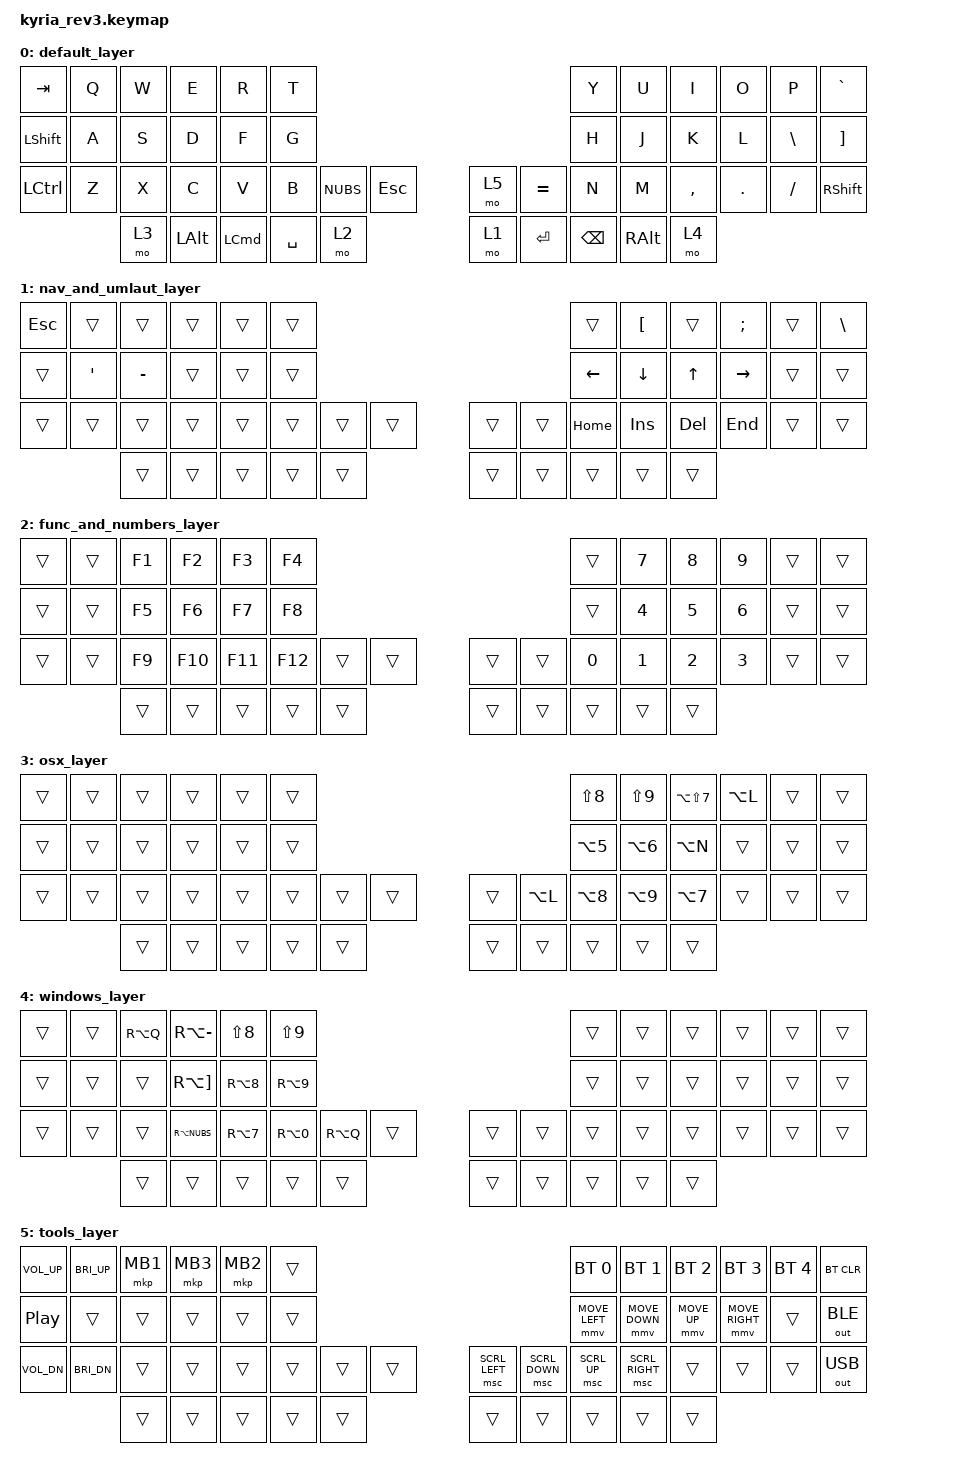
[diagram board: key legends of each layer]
/*
 * Copyright (c) 2023 The ZMK Contributors
 *
 * SPDX-License-Identifier: MIT
 */

#include <behaviors.dtsi>
#include <dt-bindings/zmk/bt.h>
#include <dt-bindings/zmk/pointing.h>
#include <dt-bindings/zmk/outputs.h>
#include <dt-bindings/zmk/keys.h>


/ {
    keymap {
        compatible = "zmk,keymap";

        default_layer {
            bindings = <
            &kp TAB   &kp Q &kp W &kp E &kp R &kp T                                           &kp Y &kp U  &kp I     &kp O   &kp P    &kp GRAVE
            &kp LSHFT &kp A &kp S &kp D &kp F &kp G                                           &kp H &kp J  &kp K     &kp L   &kp BSLH  &kp RBKT
            &kp LCTRL &kp Z &kp X &kp C &kp V &kp B &kp NUBS &kp ESC         &mo 5  &kp EQUAL &kp N &kp M  &kp COMMA &kp DOT &kp FSLH &kp RSHFT
                            &mo 3 &kp LALT &kp LCMD &kp SPACE &mo 2           &mo 1  &kp RET &kp BSPC &kp RALT &mo 4
            >;

        };
        nav_and_umlaut_layer {
            bindings = <
            &kp ESC  &trans &trans &trans &trans &trans                                    &trans &kp LBKT  &trans   &kp SEMI  &trans   &kp BSLH
            &trans   &kp SQT  &kp MINUS &trans &trans &trans                               &kp LEFT  &kp DOWN  &kp UP  &kp RIGHT  &trans &trans
            &trans   &trans &trans &trans &trans &trans &trans &trans      &trans  &trans  &kp HOME &kp INSERT &kp DELETE &kp END  &trans &trans
                                  &trans &trans &trans &trans &trans        &trans  &trans  &trans &trans &trans
            >;
        };
        func_and_numbers_layer {
            bindings = <
            &trans &trans &kp F1 &kp F2 &kp F3 &kp F4                                     &trans &kp N7 &kp N8 &kp N9 &trans &trans
            &trans &trans &kp F5 &kp F6 &kp F7 &kp F8                                     &trans &kp N4 &kp N5 &kp N6 &trans &trans
            &trans &trans &kp F9 &kp F10 &kp F11 &kp F12 &trans &trans    &trans &trans  &kp N0 &kp N1 &kp N2 &kp N3 &trans &trans
                                 &trans &trans &trans &trans &trans        &trans &trans &trans &trans &trans
            >;

        };
        osx_layer {
            bindings = <
            &trans &trans &trans &trans &trans &trans                                      &kp LS(N8) &kp LS(N9)  &kp LA(LS(N7))  &kp LA(L) &trans &trans
            &trans &trans &trans &trans &trans &trans                                      &kp LA(N5) &kp LA(N6)  &kp LA(N)  &trans &trans &trans
            &trans &trans &trans &trans &trans &trans &trans &trans       &trans  &kp LA(L) &kp LA(N8) &kp LA(N9)  &kp LA(N7) &trans &trans &trans
                                &trans &trans &trans &trans &trans         &trans &trans &trans &trans &trans
            >;
        };
        windows_layer {
            bindings = <
            &trans &trans &kp RA(Q) &kp RA(MINUS) &kp LS(N8) &kp LS(N9)                                &trans &trans &trans &trans &trans &trans 
            &trans &trans &trans &kp RA(RBKT) &kp RA(N8) &kp RA(N9)                                   &trans &trans &trans &trans &trans &trans 
            &trans &trans &trans &kp RA(NUBS) &kp RA(N7) &kp RA(N0) &kp RA(Q) &trans     &trans &trans &trans &trans &trans &trans &trans &trans 
                                &trans &trans &trans &trans &trans         &trans &trans &trans &trans &trans
            >;
        };
        tools_layer {
            bindings = <
            &kp C_VOL_UP &kp C_BRI_UP &mkp MB1 &mkp MB3 &mkp MB2 &trans                                &bt BT_SEL 0 &bt BT_SEL 1 &bt BT_SEL 2 &bt BT_SEL 3 &bt BT_SEL 4 &bt BT_CLR 
            &kp C_PP &trans &trans &trans &trans &trans                                &mmv MOVE_LEFT &mmv MOVE_DOWN &mmv MOVE_UP &mmv MOVE_RIGHT &trans &out OUT_BLE 
            &kp C_VOL_DN &kp C_BRI_DN &trans &trans &trans &trans  &trans &trans      &msc SCRL_LEFT &msc SCRL_DOWN &msc SCRL_UP &msc SCRL_RIGHT &trans &trans &trans &out OUT_USB 
                                &trans &trans &trans &trans &trans         &trans &trans &trans &trans &trans
            >;
        };
    };
};
